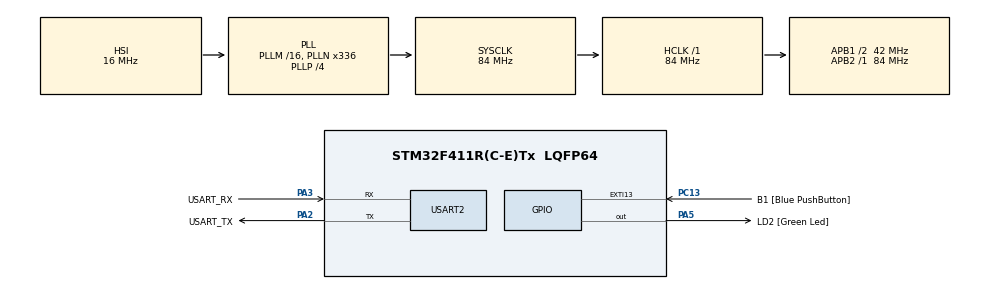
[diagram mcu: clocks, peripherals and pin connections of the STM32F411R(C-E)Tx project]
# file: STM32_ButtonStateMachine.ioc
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Mcu.Family=STM32F4
Mcu.Name=STM32F411R(C-E)Tx
Mcu.Package=LQFP64
NVIC.PriorityGroup=NVIC_PRIORITYGROUP_0
PA13.GPIO_Label=TMS
PA13.Mode=Serial_Wire
PA13.Signal=SYS_JTMS-SWDIO
PA14.GPIO_Label=TCK
PA14.Mode=Serial_Wire
PA14.Signal=SYS_JTCK-SWCLK
PA2.GPIO_Label=USART_TX
PA2.Mode=Asynchronous
PA2.Signal=USART2_TX
PA3.GPIO_Label=USART_RX
PA3.Mode=Asynchronous
PA3.Signal=USART2_RX
PA5.GPIO_Label=LD2 [Green Led]
PA5.Signal=GPIO_Output
PB3.GPIO_Label=SWO
PB3.Signal=SYS_JTDO-SWO
PC13-ANTI_TAMP.GPIO_Label=B1 [Blue PushButton]
PC13-ANTI_TAMP.GPIO_ModeDefaultEXTI=GPIO_MODE_IT_FALLING
PC13-ANTI_TAMP.Signal=GPXTI13
PC14-OSC32_IN.Mode=LSE-External-Oscillator
PC14-OSC32_IN.Signal=RCC_OSC32_IN
PC15-OSC32_OUT.Mode=LSE-External-Oscillator
PC15-OSC32_OUT.Signal=RCC_OSC32_OUT
PH0\ -\ OSC_IN.Mode=HSE-External-Clock-Source
PH0\ -\ OSC_IN.Signal=RCC_OSC_IN
PH1\ -\ OSC_OUT.Mode=HSE-External-Clock-Source
PH1\ -\ OSC_OUT.Signal=RCC_OSC_OUT
ProjectManager.HeapSize=0x200
ProjectManager.StackSize=0x400
ProjectManager.TargetToolchain=STM32CubeIDE
RCC.48MHZClocksFreq_Value=84000000
RCC.AHBFreq_Value=84000000
RCC.APB1CLKDivider=RCC_HCLK_DIV2
RCC.APB1Freq_Value=42000000
RCC.APB1TimFreq_Value=84000000
RCC.APB2Freq_Value=84000000
RCC.APB2TimFreq_Value=84000000
RCC.CortexFreq_Value=84000000
RCC.FLatency-AdvancedSettings=FLASH_LATENCY_2
RCC.HCLKFreq_Value=84000000
RCC.HSE_VALUE=8000000
RCC.HSI_VALUE=16000000
RCC.PLLN=336
RCC.PLLP=RCC_PLLP_DIV4
RCC.SYSCLKFreq_VALUE=84000000
RCC.SYSCLKSource=RCC_SYSCLKSOURCE_PLLCLK
RCC.VCOOutputFreq_Value=336000000
USART2.VirtualMode=VM_ASYNC
board=NUCLEO-F411RE

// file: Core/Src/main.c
/* USER CODE BEGIN Header */
/**
  ******************************************************************************
  * @file           : main.c
  * @brief          : Main program body
  ******************************************************************************
  * @attention
  *
  * Copyright (c) 2022 STMicroelectronics.
  * All rights reserved.
  *
  * This software is licensed under terms that can be found in the LICENSE file
  * in the root directory of this software component.
  * If no LICENSE file comes with this software, it is provided AS-IS.
  *
  ******************************************************************************
  */
/* USER CODE END Header */
#include "main.h"
#include "usart.h"
#include "gpio.h"

/* USER CODE BEGIN Includes */
#include "button.h"
/* USER CODE END Includes */

/* USER CODE BEGIN PV */
TButton BlueKey;
/* USER CODE END PV */

void SystemClock_Config(void);
/* USER CODE BEGIN PFP */
void ToggleLed(void);
void TurnOnLed(void);
void TurnOffLed(void);
void LedBlink(void);

/* USER CODE END PFP */

int main(void)
{

  /* MCU Configuration--------------------------------------------------------*/

  /* Reset of all peripherals, Initializes the Flash interface and the Systick. */
  HAL_Init();

  /* Configure the system clock */
  SystemClock_Config();

  /* Initialize all configured peripherals */
  MX_GPIO_Init();
  MX_USART2_UART_Init();
  /* USER CODE BEGIN 2 */

  ButtonInitKey(&BlueKey, B1_GPIO_Port, B1_Pin, 20, 2000, 500, 100);
  ButtonRegisterPressedCallback(&BlueKey, TurnOnLed);
  ButtonRegisterLongPressCallback(&BlueKey, TurnOffLed);
  ButtonRegisterRepetCallback(&BlueKey, ToggleLed);
  ButtonRegisterReleaseCallback(&BlueKey, ToggleLed);

  /* USER CODE END 2 */

  /* Infinite loop */
  while (1)
  {
	  ButtonTask(&BlueKey);

  }
}

void SystemClock_Config(void)
{
  RCC_OscInitTypeDef RCC_OscInitStruct = {0};
  RCC_ClkInitTypeDef RCC_ClkInitStruct = {0};

  /** Configure the main internal regulator output voltage
  */
  __HAL_RCC_PWR_CLK_ENABLE();
  __HAL_PWR_VOLTAGESCALING_CONFIG(PWR_REGULATOR_VOLTAGE_SCALE1);

  /** Initializes the RCC Oscillators according to the specified parameters
  * in the RCC_OscInitTypeDef structure.
  */
  RCC_OscInitStruct.OscillatorType = RCC_OSCILLATORTYPE_HSI;
  RCC_OscInitStruct.HSIState = RCC_HSI_ON;
  RCC_OscInitStruct.HSICalibrationValue = RCC_HSICALIBRATION_DEFAULT;
  RCC_OscInitStruct.PLL.PLLState = RCC_PLL_ON;
  RCC_OscInitStruct.PLL.PLLSource = RCC_PLLSOURCE_HSI;
  RCC_OscInitStruct.PLL.PLLM = 16;
  RCC_OscInitStruct.PLL.PLLN = 336;
  RCC_OscInitStruct.PLL.PLLP = RCC_PLLP_DIV4;
  RCC_OscInitStruct.PLL.PLLQ = 4;
  if (HAL_RCC_OscConfig(&RCC_OscInitStruct) != HAL_OK)
  {
    Error_Handler();
  }

  /** Initializes the CPU, AHB and APB buses clocks
  */
  RCC_ClkInitStruct.ClockType = RCC_CLOCKTYPE_HCLK|RCC_CLOCKTYPE_SYSCLK
                              |RCC_CLOCKTYPE_PCLK1|RCC_CLOCKTYPE_PCLK2;
  RCC_ClkInitStruct.SYSCLKSource = RCC_SYSCLKSOURCE_PLLCLK;
  RCC_ClkInitStruct.AHBCLKDivider = RCC_SYSCLK_DIV1;
  RCC_ClkInitStruct.APB1CLKDivider = RCC_HCLK_DIV2;
  RCC_ClkInitStruct.APB2CLKDivider = RCC_HCLK_DIV1;

  if (HAL_RCC_ClockConfig(&RCC_ClkInitStruct, FLASH_LATENCY_2) != HAL_OK)
  {
    Error_Handler();
  }
}

/* USER CODE BEGIN 4 */
void ToggleLed(void)
{
	HAL_GPIO_TogglePin(LD2_GPIO_Port, LD2_Pin);
}

void TurnOnLed(void)
{
	HAL_GPIO_WritePin(LD2_GPIO_Port, LD2_Pin, GPIO_PIN_SET);
}

void TurnOffLed(void)
{
	HAL_GPIO_WritePin(LD2_GPIO_Port, LD2_Pin, GPIO_PIN_RESET);
}

/* USER CODE END 4 */

void Error_Handler(void)
{
  __disable_irq();
  while (1)
  {
  }
}
